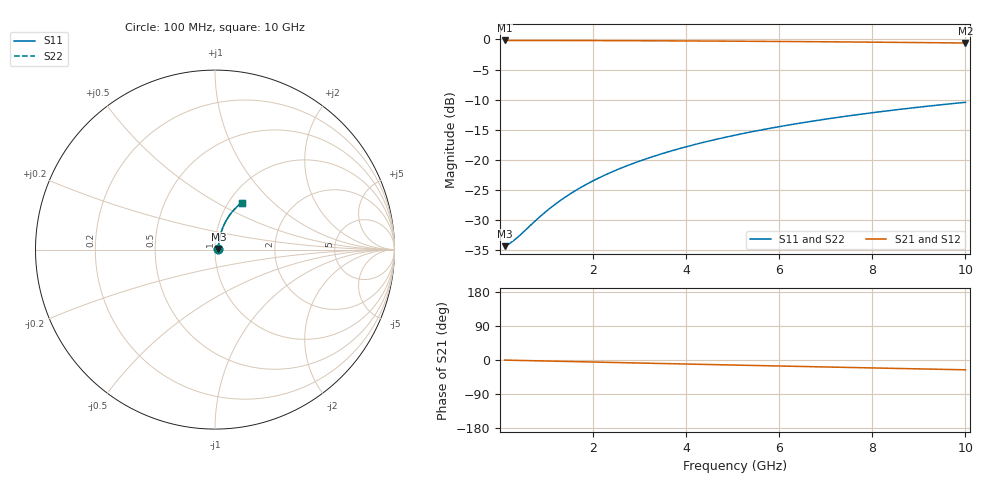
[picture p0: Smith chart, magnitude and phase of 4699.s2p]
# Hz S RI R 50.00
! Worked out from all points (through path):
!   100 points, 100 MHz to 10 GHz, reference 50 ohm
!   highest |S21| = -0.17 dB at 100 MHz (marker M1); lowest = -0.6 dB at 10 GHz (marker M2)
!   group delay of S21, straight-line fit = 7.21 ps
!   lowest |S11| = -34.4 dB at 100 MHz (marker M3), VSWR 1.04, Z = 51.9 + j0.324 ohm
!   |S11| at or under -10 dB: start of sweep to end of sweep
!   |S22| runs from -34.4 to -10.4 dB; largest |S21 - S12| = 0
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1e8  0.0189 0.00312  0.9811 -0.00458  0.9811 -0.00458  0.0189 0.00312
2e8  0.0191 0.00623  0.9809 -0.00915  0.9809 -0.00915  0.0191 0.00623
3e8  0.0192 0.00935  0.9808 -0.0137  0.9808 -0.0137  0.0192 0.00935
4e8  0.0194 0.0125  0.9806 -0.0183  0.9806 -0.0183  0.0194 0.0125
9e8  0.0206 0.028  0.9793 -0.0411  0.9793 -0.0411  0.0206 0.028
1.2e9  0.0216 0.0373  0.9782 -0.0548  0.9782 -0.0548  0.0216 0.0373
1.5e9  0.0229 0.0465  0.9769 -0.0684  0.9769 -0.0684  0.0229 0.0465
1.8e9  0.0244 0.0557  0.9752 -0.0819  0.9752 -0.0819  0.0244 0.0557
2.1e9  0.0261 0.0648  0.9734 -0.0955  0.9734 -0.0955  0.0261 0.0648
2.5e9  0.0289 0.0769  0.9704 -0.1134  0.9704 -0.1134  0.0289 0.0769
2.9e9  0.032 0.0888  0.967 -0.1312  0.967 -0.1312  0.032 0.0888
3.4e9  0.0366 0.1035  0.9622 -0.1532  0.9622 -0.1532  0.0366 0.1035
3.8e9  0.0407 0.1151  0.9577 -0.1706  0.9577 -0.1706  0.0407 0.1151
4.2e9  0.0452 0.1265  0.9529 -0.1878  0.9529 -0.1878  0.0452 0.1265
4.6e9  0.0501 0.1377  0.9476 -0.2049  0.9476 -0.2049  0.0501 0.1377
5.1e9  0.0567 0.1513  0.9404 -0.2258  0.9404 -0.2258  0.0567 0.1513
5.9e9  0.0686 0.1723  0.9276 -0.2586  0.9276 -0.2586  0.0686 0.1723
6.7e9  0.0818 0.1923  0.9132 -0.2903  0.9132 -0.2903  0.0818 0.1923
7.5e9  0.0963 0.211  0.8975 -0.3208  0.8975 -0.3208  0.0963 0.211
8.4e9  0.114 0.2306  0.8783 -0.3537  0.8783 -0.3537  0.114 0.2306
9.2e9  0.1307 0.2466  0.86 -0.3815  0.86 -0.3815  0.1307 0.2466
1e10  0.1482 0.2612  0.8408 -0.4079  0.8408 -0.4079  0.1482 0.2612
